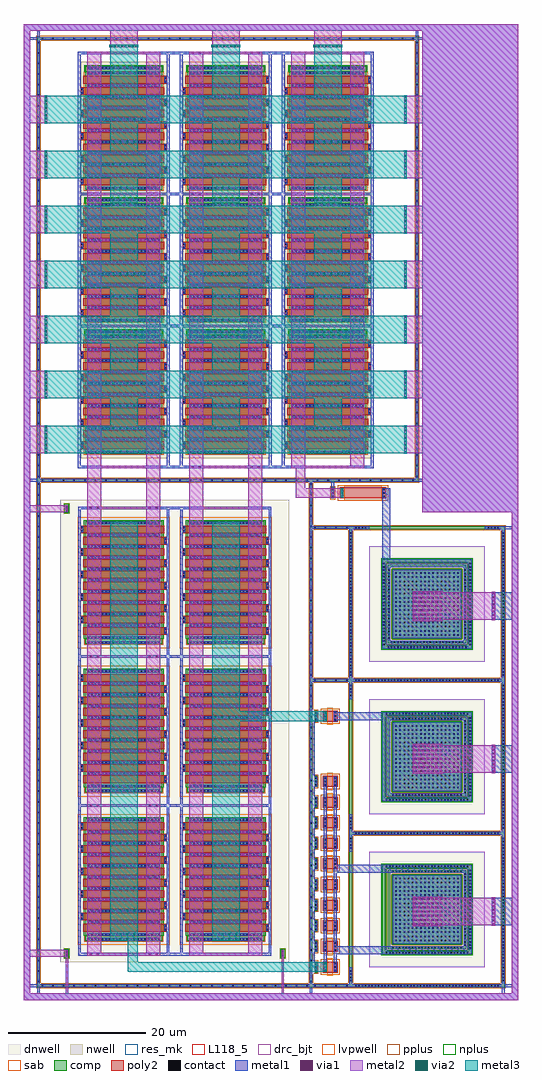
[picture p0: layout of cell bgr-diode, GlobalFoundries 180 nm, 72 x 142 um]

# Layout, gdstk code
from math import pi, radians
import gdstk
lib = gdstk.Library(unit=1e-6, precision=1e-09)
def R(c, l, rs):  # rectangles x0, y0, x1, y1
    for r in rs: c.add(gdstk.rectangle(r[:2], r[2:], *l))
def A(c, l, x, y, w, h, nx, ny, dx, dy):  # array of equal rectangles
    R(c, l, [(x+i*dx, y+j*dy, x+i*dx+w, y+j*dy+h) for i in range(nx) for j in range(ny)])
def P(c, l, *ps):  # polygons
    for p in ps: c.add(gdstk.Polygon(p, *l))
dnwell = (12, 0)
nwell = (21, 0)
comp = (22, 0)
poly2 = (30, 0)
pplus = (31, 0)
nplus = (32, 0)
contact = (33, 0)
metal1 = (34, 0)
via1 = (35, 0)
metal2 = (36, 0)
via2 = (38, 0)
metal3 = (42, 0)
sab = (49, 0)
res_mk = (110, 5)
L118_5 = (118, 5)
drc_bjt = (127, 5)
lvpwell = (204, 0)

tap_psub = lib.new_cell('tap_psub')
R(tap_psub, comp, [(-0.19,-0.77,0.19,0.77)])
R(tap_psub, pplus, [(-0.35,-0.93,0.35,0.93)])
R(tap_psub, contact, [(-0.11,-0.11,0.11,0.11)])
R(tap_psub, metal1, [(-0.19,-0.77,0.19,0.77)])

pfet_1 = lib.new_cell('pfet$1')
R(pfet_1, nwell, [(-1.15,-0.69,18.14,11.89)])
R(pfet_1, comp, [(-0.46,0,0,11.2), (0,0,16.26,11.2), (16.26,0,16.72,11.2), (16.72,0,17.45,11.2)])
A(pfet_1, poly2, 0.19, -0.68, 1.12, 0.38, 5, 1, 3.28, 0)
A(pfet_1, poly2, 0.19, -0.3, 1.12, 11.8, 10, 1, 1.64, 0)
A(pfet_1, poly2, 1.83, 11.5, 1.12, 0.38, 5, 1, 3.28, 0)
R(pfet_1, pplus, [(-0.63,-0.24,16.72,11.44)])
R(pfet_1, nplus, [(16.72,-0.17,17.62,11.37)])
A(pfet_1, contact, -0.34, 0.39, 0.22, 0.22, 1, 21, 0, 0.51)
A(pfet_1, contact, 1.46, 0.39, 0.22, 0.22, 9, 21, 1.64, 0.51)
A(pfet_1, contact, 16.38, 0.39, 0.22, 0.22, 1, 21, 0, 0.51)
A(pfet_1, contact, 17.11, 0.39, 0.22, 0.22, 1, 21, 0, 0.51)
R(pfet_1, contact, [(0.385,-0.6,0.605,-0.38), (0.895,-0.6,1.115,-0.38), (3.665,-0.6,3.885,-0.38), (4.175,-0.6,4.395,-0.38), (6.945,-0.6,7.165,-0.38), (7.455,-0.6,7.675,-0.38), (10.225,-0.6,10.445,-0.38), (10.735,-0.6,10.955,-0.38), (13.505,-0.6,13.725,-0.38), (14.015,-0.6,14.235,-0.38), (2.025,11.58,2.245,11.8), (2.535,11.58,2.755,11.8), (5.305,11.58,5.525,11.8), (5.815,11.58,6.035,11.8), (8.585,11.58,8.805,11.8), (9.095,11.58,9.315,11.8), (11.865,11.58,12.085,11.8), (12.375,11.58,12.595,11.8), (15.145,11.58,15.365,11.8), (15.655,11.58,15.875,11.8)])
A(pfet_1, metal1, 0.305, -0.68, 0.89, 0.38, 5, 1, 3.28, 0)
A(pfet_1, metal1, 1.38, 0.31, 0.38, 10.58, 9, 1, 1.64, 0)
A(pfet_1, metal1, 1.945, 11.5, 0.89, 0.38, 5, 1, 3.28, 0)
R(pfet_1, metal1, [(-0.42,0.31,-0.04,10.89), (16.3,0.31,16.68,10.89), (17.03,0.31,17.41,10.89)])

via1_ = lib.new_cell('via1')
R(via1_, via1, [(-0.13,-0.13,0.13,0.13)])

backgate_n = lib.new_cell('backgate_n')
R(backgate_n, nwell, [(-0.45,-0.52,0.45,1.03)])
R(backgate_n, comp, [(-0.19,-0.26,0.19,0.77)])
R(backgate_n, nplus, [(-0.35,-0.42,0.35,0.93)])
R(backgate_n, contact, [(-0.11,-0.11,0.11,0.11), (-0.11,0.4,0.11,0.62)])
R(backgate_n, metal1, [(-0.16,-0.26,0.16,0.77)])
R(backgate_n, metal2, [(-0.16,-0.26,0.16,0.77)])
backgate_n.add(gdstk.Reference(via1_, (0,0.255)))

pg_mesh = lib.new_cell('pg_mesh')
R(pg_mesh, metal1, [(-0.5,-0.5,0.5,0.5), (-0.5,-0.5,0.5,0.5)])
R(pg_mesh, metal2, [(-0.5,-0.5,0.5,0.5), (-0.5,-0.5,0.5,0.5)])

m12_sd = lib.new_cell('m12_sd')
R(m12_sd, metal2, [(-7.991,0.749,2.589,1.129)])
r = gdstk.Reference(via1_, (-7.3,0.939)); r.repetition = gdstk.Repetition(10, 1, v1=(1.02,0), v2=(0,0)); m12_sd.add(r)

nfet_3 = lib.new_cell('nfet$3')
R(nfet_3, dnwell, [(-3.55,-3.63,20.52,14.83)])
R(nfet_3, comp, [(-0.42,0,0,11.2), (0,0,16.26,11.2), (16.26,0,16.68,11.2), (16.68,0,17.39,11.2)])
A(nfet_3, poly2, 0.19, -0.66, 1.12, 0.36, 5, 1, 3.28, 0)
A(nfet_3, poly2, 0.19, -0.3, 1.12, 11.8, 10, 1, 1.64, 0)
A(nfet_3, poly2, 1.83, 11.5, 1.12, 0.36, 5, 1, 3.28, 0)
R(nfet_3, pplus, [(16.68,-0.17,17.56,11.37)])
R(nfet_3, nplus, [(-0.59,-0.24,16.68,11.44)])
A(nfet_3, contact, -0.32, 0.39, 0.22, 0.22, 1, 21, 0, 0.51)
A(nfet_3, contact, 1.46, 0.39, 0.22, 0.22, 9, 21, 1.64, 0.51)
A(nfet_3, contact, 16.36, 0.39, 0.22, 0.22, 1, 21, 0, 0.51)
A(nfet_3, contact, 17.07, 0.39, 0.22, 0.22, 1, 21, 0, 0.51)
R(nfet_3, contact, [(0.385,-0.59,0.605,-0.37), (0.895,-0.59,1.115,-0.37), (3.665,-0.59,3.885,-0.37), (4.175,-0.59,4.395,-0.37), (6.945,-0.59,7.165,-0.37), (7.455,-0.59,7.675,-0.37), (10.225,-0.59,10.445,-0.37), (10.735,-0.59,10.955,-0.37), (13.505,-0.59,13.725,-0.37), (14.015,-0.59,14.235,-0.37), (2.025,11.57,2.245,11.79), (2.535,11.57,2.755,11.79), (5.305,11.57,5.525,11.79), (5.815,11.57,6.035,11.79), (8.585,11.57,8.805,11.79), (9.095,11.57,9.315,11.79), (11.865,11.57,12.085,11.79), (12.375,11.57,12.595,11.79), (15.145,11.57,15.365,11.79), (15.655,11.57,15.875,11.79)])
A(nfet_3, metal1, 0.305, -0.67, 0.89, 0.38, 5, 1, 3.28, 0)
A(nfet_3, metal1, 1.38, 0.31, 0.38, 10.58, 9, 1, 1.64, 0)
A(nfet_3, metal1, 1.945, 11.49, 0.89, 0.38, 5, 1, 3.28, 0)
R(nfet_3, metal1, [(-0.4,0.31,-0.02,10.89), (16.28,0.31,16.66,10.89), (16.99,0.31,17.37,10.89)])
R(nfet_3, lvpwell, [(-1.04,-1.12,18.01,12.32)])

ppolyf_u_resistor_1 = lib.new_cell('ppolyf_u_resistor$1')
R(ppolyf_u_resistor_1, comp, [(-1.88,0,-1.52,1.6)])
R(ppolyf_u_resistor_1, poly2, [(-0.66,0,1.46,1.6)])
R(ppolyf_u_resistor_1, pplus, [(-0.96,-0.3,1.76,1.9), (-2.04,-0.16,-1.36,1.76)])
A(ppolyf_u_resistor_1, contact, -1.81, 0.18, 0.22, 0.22, 1, 3, 0, 0.51)
A(ppolyf_u_resistor_1, contact, -0.44, 0.18, 0.22, 0.22, 1, 3, 0, 0.51)
A(ppolyf_u_resistor_1, contact, 1.02, 0.18, 0.22, 0.22, 1, 3, 0, 0.51)
R(ppolyf_u_resistor_1, metal1, [(-1.89,0.1,-1.51,1.5), (-0.52,0.1,-0.14,1.5), (0.94,0.1,1.32,1.5)])
R(ppolyf_u_resistor_1, sab, [(0,-0.456,0.8,2.056)])
R(ppolyf_u_resistor_1, res_mk, [(0,0,0.8,1.6)])

ppolyf_u_resistor = lib.new_cell('ppolyf_u_resistor')
R(ppolyf_u_resistor, comp, [(-1.88,0,-1.52,1.6)])
R(ppolyf_u_resistor, poly2, [(-0.66,0,6.06,1.6)])
R(ppolyf_u_resistor, pplus, [(-0.96,-0.3,6.36,1.9), (-2.04,-0.16,-1.36,1.76)])
A(ppolyf_u_resistor, contact, -1.81, 0.18, 0.22, 0.22, 1, 3, 0, 0.51)
A(ppolyf_u_resistor, contact, -0.44, 0.18, 0.22, 0.22, 1, 3, 0, 0.51)
A(ppolyf_u_resistor, contact, 5.62, 0.18, 0.22, 0.22, 1, 3, 0, 0.51)
R(ppolyf_u_resistor, metal1, [(-1.89,0.1,-1.51,1.5), (-0.52,0.1,-0.14,1.5), (5.54,0.1,5.92,1.5)])
R(ppolyf_u_resistor, sab, [(0,-0.28,5.4,1.88)])
R(ppolyf_u_resistor, res_mk, [(0,0,5.4,1.6)])

via2_ = lib.new_cell('via2')
R(via2_, via2, [(-0.13,-0.13,0.13,0.13)])

m13_sd_4u = lib.new_cell('m13_sd_4u')
R(m13_sd_4u, metal2, [(-4.701,0.749,-0.701,1.129)])
R(m13_sd_4u, metal3, [(-4.701,0.749,-0.701,1.129)])
r = gdstk.Reference(via2_, (-4.24,0.939)); r.repetition = gdstk.Repetition(4, 1, v1=(1.02,0), v2=(0,0)); m13_sd_4u.add(r)
r = gdstk.Reference(via1_, (-4.24,0.939)); r.repetition = gdstk.Repetition(4, 1, v1=(1.02,0), v2=(0,0)); m13_sd_4u.add(r)

m12_sd_2u = lib.new_cell('m12_sd_2u')
R(m12_sd_2u, metal2, [(-3.701,0.749,-1.701,1.129)])
r = gdstk.Reference(via1_, (-3.22,0.939)); r.repetition = gdstk.Repetition(2, 1, v1=(1.02,0), v2=(0,0)); m12_sd_2u.add(r)

m3_bar1 = lib.new_cell('m3_bar1')
m3_bar1.add(gdstk.FlexPath([(0,0),(25.68,0)], 4, ends="flush", simple_path=True, layer=42, datatype=0))  # metal3

m2_bar1 = lib.new_cell('m2_bar1')
m2_bar1.add(gdstk.FlexPath([(0,0),(10.58,0)], 0.38, ends="flush", simple_path=True, layer=36, datatype=0))  # metal2

m23 = lib.new_cell('m23')
R(m23, metal2, [(-0.18,-0.26,0.18,0.26)])
R(m23, metal3, [(-0.18,-0.26,0.18,0.26)])
m23.add(gdstk.Reference(via2_, (0,0)))

pfet_vdd = lib.new_cell('pfet_vdd')
pfet_vdd.add(gdstk.FlexPath([(1,0),(4,0)], 4, ends="flush", simple_path=True, layer=36, datatype=0))  # metal2
pfet_vdd.add(gdstk.FlexPath([(3.64,0),(13.14,0)], 4, ends="flush", simple_path=True, layer=42, datatype=0))  # metal3
r = gdstk.Reference(m23, (3.82,-1.82)); r.repetition = gdstk.Repetition(1, 8, v1=(0,0), v2=(0,0.52)); pfet_vdd.add(r)

m13 = lib.new_cell('m13')
R(m13, metal1, [(-0.19,-0.7,0.19,0.7)])
R(m13, metal2, [(-0.19,-0.7,0.19,0.7)])
R(m13, metal3, [(-0.19,-0.7,0.19,0.7)])
r = gdstk.Reference(via2_, (0,-0.52)); r.repetition = gdstk.Repetition(1, 3, v1=(0,0), v2=(0,0.52)); m13.add(r)
r = gdstk.Reference(via1_, (0,-0.52)); r.repetition = gdstk.Repetition(1, 3, v1=(0,0), v2=(0,0.52)); m13.add(r)

m12_array = lib.new_cell('m12_array')
R(m12_array, metal1, [(-0.31,-0.31,0.31,0.31)])
R(m12_array, metal2, [(-0.31,-0.31,0.31,0.31)])
m12_array.add(gdstk.Reference(via1_, (0,0)))

m12 = lib.new_cell('m12')
R(m12, metal1, [(-0.26,-0.26,0.26,0.26)])
R(m12, metal2, [(-0.26,-0.26,0.26,0.26)])
m12.add(gdstk.Reference(via1_, (0,0)))

bjt_vss = lib.new_cell('bjt-vss')
bjt_vss.add(gdstk.FlexPath([(11.48,0),(14.38,0)], 4, ends="flush", simple_path=True, layer=34, datatype=0))  # metal1
bjt_vss.add(gdstk.FlexPath([(0,0),(12,0)], 4, ends="flush", simple_path=True, layer=36, datatype=0))  # metal2
r = gdstk.Reference(m12_array, (0.31,-1.86)); r.repetition = gdstk.Repetition(7, 7, v1=(0.62,0), v2=(0,0.62)); bjt_vss.add(r)
r = gdstk.Reference(m12, (11.74,-1.82)); r.repetition = gdstk.Repetition(1, 8, v1=(0,0), v2=(0,0.52)); bjt_vss.add(r)

npn_10p00x10p00_0 = lib.new_cell('npn_10p00x10p00_0')
R(npn_10p00x10p00_0, dnwell, [(-3.4,-3.4,13.4,13.4)])
R(npn_10p00x10p00_0, comp, [(0,0,10,10)])
P(npn_10p00x10p00_0, comp, [(-6.32,-6.32),(-6.32,16.32),(15.9,16.32),(15.9,15.9),(-5.9,15.9),(-5.9,-5.9),(15.9,-5.9),(15.9,16.32),(16.32,16.32),(16.32,-6.32)],
  [(-0.74,-0.74),(-0.74,10.74),(10.32,10.74),(10.32,10.32),(-0.32,10.32),(-0.32,-0.32),(10.32,-0.32),(10.32,10.74),(10.74,10.74),(10.74,-0.74)],
  [(-1.48,-1.48),(-1.48,11.48),(11.06,11.48),(11.06,11.06),(-1.06,11.06),(-1.06,-1.06),(11.06,-1.06),(11.06,11.48),(11.48,11.48),(11.48,-1.48)])
P(npn_10p00x10p00_0, pplus, [(-6.48,-6.48),(-6.48,16.48),(15.74,16.48),(15.74,15.74),(-5.74,15.74),(-5.74,-5.74),(15.74,-5.74),(15.74,16.48),(16.48,16.48),(16.48,-6.48)],
  [(-0.9,-0.9),(-0.9,10.9),(10.16,10.9),(10.16,10.16),(-0.16,10.16),(-0.16,-0.16),(10.16,-0.16),(10.16,10.9),(10.9,10.9),(10.9,-0.9)])
R(npn_10p00x10p00_0, nplus, [(-0.16,-0.16,10.16,10.16)])
P(npn_10p00x10p00_0, nplus, [(-1.64,-1.64),(-1.64,11.64),(10.9,11.64),(10.9,10.9),(-0.9,10.9),(-0.9,-0.9),(10.9,-0.9),(10.9,11.64),(11.64,11.64),(11.64,-1.64)])
A(npn_10p00x10p00_0, contact, -5.45, -6.22, 0.22, 0.22, 4, 1, 0.47, 0)
A(npn_10p00x10p00_0, contact, 13.82, -6.22, 0.22, 0.22, 4, 1, 0.47, 0)
A(npn_10p00x10p00_0, contact, -6.22, -5.45, 0.22, 0.22, 1, 45, 0, 0.47)
A(npn_10p00x10p00_0, contact, 16, -5.45, 0.22, 0.22, 1, 45, 0, 0.47)
A(npn_10p00x10p00_0, contact, -1.38, -0.985, 0.22, 0.22, 1, 26, 0, 0.47)
A(npn_10p00x10p00_0, contact, 11.16, -0.985, 0.22, 0.22, 1, 26, 0, 0.47)
A(npn_10p00x10p00_0, contact, -0.64, -0.045, 0.22, 0.22, 1, 22, 0, 0.47)
A(npn_10p00x10p00_0, contact, 10.42, -0.045, 0.22, 0.22, 1, 22, 0, 0.47)
A(npn_10p00x10p00_0, contact, 0.39, 0.39, 0.22, 0.22, 16, 16, 0.6, 0.6)
A(npn_10p00x10p00_0, contact, -0.28, 10.42, 0.22, 0.22, 23, 1, 0.47, 0)
A(npn_10p00x10p00_0, contact, -0.75, 11.16, 0.22, 0.22, 25, 1, 0.47, 0)
A(npn_10p00x10p00_0, contact, -5.45, 16, 0.22, 0.22, 45, 1, 0.47, 0)
R(npn_10p00x10p00_0, metal1, [(-6.32,-6.32,-5.9,16.32), (-6.32,-6.32,-3.4,-5.9), (13.4,-6.32,16.32,-5.9), (15.9,-6.32,16.32,16.32), (-1.48,-1.48,-1.06,11.48), (11.06,-1.48,11.48,11.48), (-0.74,-0.74,-0.32,10.74), (10.32,-0.74,10.74,10.74), (0,0,10,10), (0,0,10,10), (-0.74,10.32,10.74,10.74), (-1.48,11.06,11.48,11.48), (-6.32,15.9,16.32,16.32)])
P(npn_10p00x10p00_0, metal1, [(-6.32,-6.32),(-6.32,16.32),(15.9,16.32),(15.9,15.9),(-5.9,15.9),(-5.9,-5.9),(-3.4,-5.9),(-3.4,-6.32)],
  [(13.4,-6.32),(13.4,-5.9),(15.9,-5.9),(15.9,16.32),(16.32,16.32),(16.32,-6.32)],
  [(-0.74,-0.74),(-0.74,10.74),(10.74,10.74),(10.74,-0.74),(10.32,-0.74),(10.32,10.32),(-0.32,10.32),(-0.32,-0.74)],
  [(-1.48,-1.48),(-1.48,11.48),(11.48,11.48),(11.48,-1.48),(11.06,-1.48),(11.06,11.06),(-1.06,11.06),(-1.06,-1.48)])
R(npn_10p00x10p00_0, L118_5, [(0,0,10,10)])
R(npn_10p00x10p00_0, drc_bjt, [(-3.4,-3.4,13.4,13.4)])
R(npn_10p00x10p00_0, lvpwell, [(-0.9,-0.9,10.9,10.9)])
npn_10p00x10p00_0.add(gdstk.Label('E', (5.005,4.995), layer=34, texttype=0))
npn_10p00x10p00_0.add(gdstk.Label('B', (-0.515,-0.485), layer=34, texttype=0))
npn_10p00x10p00_0.add(gdstk.Label('B', (10.525,-0.495), layer=34, texttype=0))
npn_10p00x10p00_0.add(gdstk.Label('B', (10.55,10.54), layer=34, texttype=0))
npn_10p00x10p00_0.add(gdstk.Label('C', (-1.255,11.26), layer=34, texttype=0))
npn_10p00x10p00_0.add(gdstk.Label('C', (11.27,-1.235), layer=34, texttype=0))
npn_10p00x10p00_0.add(gdstk.Label('C', (11.285,11.285), layer=34, texttype=0))
npn_10p00x10p00_0.add(gdstk.Label('S', (16.105,16.105), layer=34, texttype=0))
npn_10p00x10p00_0.add(gdstk.Label('S', (16.07,-6.095), layer=34, texttype=0))
npn_10p00x10p00_0.add(gdstk.Label('S', (16.07,-6.095), layer=34, texttype=0))
npn_10p00x10p00_0.add(gdstk.Label('S', (-6.095,-6.055), layer=34, texttype=0))
npn_10p00x10p00_0.add(gdstk.Label('S', (-6.095,-6.055), layer=34, texttype=0))

npn_10p00x10p00 = lib.new_cell('npn_10p00x10p00')
npn_10p00x10p00.add(gdstk.Reference(npn_10p00x10p00_0, (6.6,6.6)))
npn_10p00x10p00.add(gdstk.Label('I1_default_E', (6.625,6.625), layer=34, texttype=10))
npn_10p00x10p00.add(gdstk.Label('I1_default_S', (0.305,22.525), layer=34, texttype=10))
npn_10p00x10p00.add(gdstk.Label('I1_default_S', (22.525,0.305), layer=34, texttype=10))
npn_10p00x10p00.add(gdstk.Label('I1_default_S', (20.025,0.305), layer=34, texttype=10))
npn_10p00x10p00.add(gdstk.Label('I1_default_S', (0.305,0.305), layer=34, texttype=10))
npn_10p00x10p00.add(gdstk.Label('I1_default_S', (0.305,0.305), layer=34, texttype=10))
npn_10p00x10p00.add(gdstk.Label('I1_default_C', (5.145,5.145), layer=34, texttype=10))
npn_10p00x10p00.add(gdstk.Label('I1_default_C', (17.685,5.145), layer=34, texttype=10))
npn_10p00x10p00.add(gdstk.Label('I1_default_C', (5.145,17.685), layer=34, texttype=10))
npn_10p00x10p00.add(gdstk.Label('I1_default_B', (5.885,5.885), layer=34, texttype=10))
npn_10p00x10p00.add(gdstk.Label('I1_default_B', (16.945,5.885), layer=34, texttype=10))
npn_10p00x10p00.add(gdstk.Label('I1_default_B', (5.885,16.945), layer=34, texttype=10))

npn_bjt = lib.new_cell('npn_bjt')
npn_bjt.add(gdstk.Reference(npn_10p00x10p00, (0,0)))

bgr_diode = lib.new_cell('bgr-diode')
bgr_diode.add(gdstk.FlexPath([(-2.11,-49.639),(-2.11,-78.039)], 0.38, ends="flush", simple_path=True, layer=34, datatype=0))  # metal1
bgr_diode.add(gdstk.FlexPath([(-0.65,-49.639),(-0.65,-78.039)], 0.38, ends="flush", simple_path=True, layer=34, datatype=0))  # metal1
bgr_diode.add(gdstk.FlexPath([(-3.82,-40.145),(-3.82,-78.039)], 0.32, ends="flush", simple_path=True, layer=34, datatype=0))  # metal1
bgr_diode.add(gdstk.FlexPath([(-1.02,-6.705),(-1.02,-7.668)], 0.38, ends="flush", simple_path=True, layer=34, datatype=0))  # metal1
bgr_diode.add(gdstk.FlexPath([(-0.84,-74.865),(18.6,-74.865),(18.6,-63.065),(-0.84,-63.065)], 1.16, ends="flush", simple_path=True, layer=34, datatype=0))  # metal1
bgr_diode.add(gdstk.FlexPath([(-0.84,-40.845),(18.6,-40.845),(18.6,-52.645),(6.8,-52.645),(6.8,-41.425)], 1.16, ends="flush", simple_path=True, layer=34, datatype=0))  # metal1
bgr_diode.add(gdstk.FlexPath([(6.8,-7.668),(6.8,-30.425),(18.6,-30.425),(18.6,-18.625),(7.38,-18.625)], 1.16, ends="flush", simple_path=True, layer=34, datatype=0))  # metal1
bgr_diode.add(gdstk.FlexPath([(11.42,-6.515),(12,-6.515)], 0.38, ends="flush", simple_path=True, layer=34, datatype=0))  # metal1
bgr_diode.add(gdstk.FlexPath([(11.42,57.782),(12,57.782)], 0.38, ends="flush", simple_path=True, layer=34, datatype=0))  # metal1
bgr_diode.add(gdstk.FlexPath([(11.23,58.865),(11.23,57.972)], 0.38, ends="flush", simple_path=True, layer=34, datatype=0))  # metal1
bgr_diode.add(gdstk.FlexPath([(-45,57.782),(-44.02,57.782)], 0.38, ends="flush", simple_path=True, layer=34, datatype=0))  # metal1
bgr_diode.add(gdstk.FlexPath([(-43.83,58.865),(-43.83,57.972)], 0.38, ends="flush", simple_path=True, layer=34, datatype=0))  # metal1
bgr_diode.add(gdstk.FlexPath([(-45,-6.515),(-44.02,-6.515)], 0.38, ends="flush", simple_path=True, layer=34, datatype=0))  # metal1
bgr_diode.add(gdstk.FlexPath([(-45,-80.055),(-44.02,-80.055)], 0.38, ends="flush", simple_path=True, layer=34, datatype=0))  # metal1
bgr_diode.add(gdstk.FlexPath([(-43.83,-80.245),(-43.83,-81.135)], 0.38, ends="flush", simple_path=True, layer=34, datatype=0))  # metal1
bgr_diode.add(gdstk.FlexPath([(-4.17,-80.245),(-4.17,-81.135)], 0.38, ends="flush", simple_path=True, layer=34, datatype=0))  # metal1
bgr_diode.add(gdstk.FlexPath([(23.81,-80.285),(23.81,-81.135)], 0.42, ends="flush", simple_path=True, layer=34, datatype=0))  # metal1
bgr_diode.add(gdstk.FlexPath([(24.02,-80.075),(25,-80.075)], 0.42, ends="flush", simple_path=True, layer=34, datatype=0))  # metal1
bgr_diode.add(gdstk.FlexPath([(24.02,-13.415),(25,-13.415)], 0.42, ends="flush", simple_path=True, layer=34, datatype=0))  # metal1
bgr_diode.add(gdstk.FlexPath([(-37.89,55.442),(-37.89,-4.578),(-24.95,-4.578),(-24.95,55.632),(-38.08,55.632)], 0.38, ends="flush", simple_path=True, layer=34, datatype=0))  # metal1
bgr_diode.add(gdstk.FlexPath([(-23.05,55.442),(-23.05,-4.578),(-10.11,-4.578),(-10.11,55.632),(-23.24,55.632)], 0.38, ends="flush", simple_path=True, layer=34, datatype=0))  # metal1
bgr_diode.add(gdstk.FlexPath([(-8.21,55.442),(-8.21,-4.578),(4.73,-4.578),(4.73,55.632),(-8.4,55.632)], 0.38, ends="flush", simple_path=True, layer=34, datatype=0))  # metal1
bgr_diode.add(gdstk.FlexPath([(-37.88,-10.718),(-37.88,-75.478),(-24.96,-75.478),(-24.96,-10.528),(-38.07,-10.528)], 0.38, ends="flush", simple_path=True, layer=34, datatype=0))  # metal1
bgr_diode.add(gdstk.FlexPath([(-23.04,-10.718),(-23.04,-75.478),(-10.12,-75.478),(-10.12,-10.528),(-23.23,-10.528)], 0.38, ends="flush", simple_path=True, layer=34, datatype=0))  # metal1
bgr_diode.add(gdstk.FlexPath([(-38.07,-75.478),(-9.93,-75.478)], 0.38, ends="flush", simple_path=True, layer=34, datatype=0))  # metal1
bgr_diode.add(gdstk.FlexPath([(-38.07,-10.528),(-9.93,-10.528)], 0.38, ends="flush", simple_path=True, layer=34, datatype=0))  # metal1
bgr_diode.add(gdstk.FlexPath([(-38.08,-4.578),(4.92,-4.578)], 0.38, ends="flush", simple_path=True, layer=34, datatype=0))  # metal1
bgr_diode.add(gdstk.FlexPath([(-38.08,55.632),(4.92,55.632)], 0.38, ends="flush", simple_path=True, layer=34, datatype=0))  # metal1
bgr_diode.add(gdstk.FlexPath([(-38.08,35.127),(4.91,35.127)], 0.38, ends="flush", simple_path=True, layer=34, datatype=0))  # metal1
bgr_diode.add(gdstk.FlexPath([(-38.08,15.927),(4.91,15.927)], 0.38, ends="flush", simple_path=True, layer=34, datatype=0))  # metal1
bgr_diode.add(gdstk.FlexPath([(-38.07,-53.828),(-9.93,-53.828)], 0.38, ends="flush", simple_path=True, layer=34, datatype=0))  # metal1
bgr_diode.add(gdstk.FlexPath([(-38.07,-32.178),(-9.93,-32.178)], 0.38, ends="flush", simple_path=True, layer=34, datatype=0))  # metal1
bgr_diode.add(gdstk.FlexPath([(2.55,55.822),(2.55,-4.768)], 2, ends="flush", simple_path=True, layer=36, datatype=0))  # metal2
bgr_diode.add(gdstk.FlexPath([(-6.03,55.822),(-6.03,-4.768)], 2, ends="flush", simple_path=True, layer=36, datatype=0))  # metal2
bgr_diode.add(gdstk.FlexPath([(-45,-10.643),(-39.86,-10.643)], 1.03, ends="flush", simple_path=True, layer=36, datatype=0))  # metal2
bgr_diode.add(gdstk.FlexPath([(-45,-75.363),(-39.86,-75.363)], 1.03, ends="flush", simple_path=True, layer=36, datatype=0))  # metal2
bgr_diode.add(gdstk.FlexPath([(-39.685,-75.878),(-39.685,-81.135)], 0.35, ends="flush", simple_path=True, layer=36, datatype=0))  # metal2
bgr_diode.add(gdstk.FlexPath([(-8.285,-75.878),(-8.285,-81.135)], 0.35, ends="flush", simple_path=True, layer=36, datatype=0))  # metal2
bgr_diode.add(gdstk.FlexPath([(-5.73,-4.768),(-5.73,-8.368),(0.16,-8.368)], 1.4, ends="flush", simple_path=True, layer=36, datatype=0))  # metal2
bgr_diode.add(gdstk.FlexPath([(-27.13,55.822),(-27.13,-75.668)], 2, ends="flush", simple_path=True, layer=36, datatype=0))  # metal2
bgr_diode.add(gdstk.FlexPath([(-35.71,55.822),(-35.71,-75.668)], 2, ends="flush", simple_path=True, layer=36, datatype=0))  # metal2
bgr_diode.add(gdstk.FlexPath([(-12.29,55.822),(-12.29,-75.668)], 2, ends="flush", simple_path=True, layer=36, datatype=0))  # metal2
bgr_diode.add(gdstk.FlexPath([(-20.87,55.822),(-20.87,-75.668)], 2, ends="flush", simple_path=True, layer=36, datatype=0))  # metal2
bgr_diode.add(gdstk.FlexPath([(-1.74,53.642),(-1.74,-2.588)], 4, ends="flush", simple_path=True, layer=42, datatype=0))  # metal3
bgr_diode.add(gdstk.FlexPath([(-16.58,-40.845),(-2.3,-40.845)], 1.4, ends="flush", simple_path=True, layer=42, datatype=0))  # metal3
bgr_diode.add(gdstk.FlexPath([(-1.92,-77.339),(-30.12,-77.339),(-30.12,-73.488)], 1.4, ends="flush", simple_path=True, layer=42, datatype=0))  # metal3
bgr_diode.add(gdstk.FlexPath([(-31.42,53.642),(-31.42,-2.588)], 4, ends="flush", simple_path=True, layer=42, datatype=0))  # metal3
bgr_diode.add(gdstk.FlexPath([(-16.58,53.642),(-16.58,-2.588)], 4, ends="flush", simple_path=True, layer=42, datatype=0))  # metal3
bgr_diode.add(gdstk.FlexPath([(-31.42,-12.518),(-31.42,-73.488)], 4, ends="flush", simple_path=True, layer=42, datatype=0))  # metal3
bgr_diode.add(gdstk.FlexPath([(-16.58,-12.518),(-16.58,-73.488)], 4, ends="flush", simple_path=True, layer=42, datatype=0))  # metal3
r = gdstk.Reference(tap_psub, (-43.83,-79.475)); r.repetition = gdstk.Repetition(1, 48, v1=(0,0), v2=(0,1.54)); bgr_diode.add(r)
r = gdstk.Reference(tap_psub, (10.65,57.782), rotation=pi/2); r.repetition = gdstk.Repetition(1, 36, v1=(0,0), v2=(-1.54,0)); bgr_diode.add(r)
r = gdstk.Reference(pfet_1, (-37.02,-2.168), rotation=pi/2, x_reflection=True); r.repetition = gdstk.Repetition(3, 3, v1=(0,19.2), v2=(14.84,0)); bgr_diode.add(r)
bgr_diode.add(gdstk.Reference(backgate_n, (-39.7,-10.898)))
r = gdstk.Reference(pg_mesh, (-45.5,-81.635)); r.repetition = gdstk.Repetition(1, 142, v1=(0,0), v2=(0,1)); bgr_diode.add(r)
bgr_diode.add(gdstk.Reference(backgate_n, (-39.7,-75.618)))
r = gdstk.Reference(m12_sd, (-28.719,-50.147)); r.repetition = gdstk.Repetition(2, 5, v1=(14.84,0), v2=(0,3.28)); bgr_diode.add(r)
r = gdstk.Reference(nfet_3, (-37.02,-12.918), rotation=3*pi/2); r.repetition = gdstk.Repetition(3, 2, v1=(0,-21.6), v2=(14.84,0)); bgr_diode.add(r)
r = gdstk.Reference(m12_sd, (-28.719,-1.537)); r.repetition = gdstk.Repetition(3, 5, v1=(14.84,0), v2=(0,3.28)); bgr_diode.add(r)
r = gdstk.Reference(m12_sd, (-28.719,17.663)); r.repetition = gdstk.Repetition(3, 5, v1=(14.84,0), v2=(0,3.28)); bgr_diode.add(r)
r = gdstk.Reference(m12_sd, (-28.719,36.863)); r.repetition = gdstk.Repetition(3, 5, v1=(14.84,0), v2=(0,3.28)); bgr_diode.add(r)
bgr_diode.add(gdstk.Reference(ppolyf_u_resistor_1, (-1.78,-41.645)))
r = gdstk.Reference(ppolyf_u_resistor_1, (-1.78,-78.139)); r.repetition = gdstk.Repetition(1, 10, v1=(0,0), v2=(0,3)); bgr_diode.add(r)
bgr_diode.add(gdstk.Reference(ppolyf_u_resistor, (0.68,-9.168)))
r = gdstk.Reference(tap_psub, (-43.25,-80.055), rotation=3*pi/2); r.repetition = gdstk.Repetition(1, 26, v1=(0,0), v2=(1.54,0)); bgr_diode.add(r)
r = gdstk.Reference(tap_psub, (10.65,-6.515), rotation=pi/2); r.repetition = gdstk.Repetition(1, 36, v1=(0,0), v2=(-1.54,0)); bgr_diode.add(r)
r = gdstk.Reference(tap_psub, (11.23,-5.935)); r.repetition = gdstk.Repetition(1, 42, v1=(0,0), v2=(0,1.54)); bgr_diode.add(r)
r = gdstk.Reference(m12_sd, (-28.719,-28.547)); r.repetition = gdstk.Repetition(2, 5, v1=(14.84,0), v2=(0,3.28)); bgr_diode.add(r)
r = gdstk.Reference(m12_sd, (-28.719,-71.747)); r.repetition = gdstk.Repetition(2, 5, v1=(14.84,0), v2=(0,3.28)); bgr_diode.add(r)
r = gdstk.Reference(m13_sd_4u, (-28.719,-70.107)); r.repetition = gdstk.Repetition(2, 4, v1=(14.84,0), v2=(0,3.28)); bgr_diode.add(r)
r = gdstk.Reference(m13_sd_4u, (-28.719,-74.237)); r.repetition = gdstk.Repetition(2, 2, v1=(14.84,0), v2=(0,0.71)); bgr_diode.add(r)
r = gdstk.Reference(m13_sd_4u, (-28.719,-56.847)); r.repetition = gdstk.Repetition(2, 1, v1=(14.84,0), v2=(0,0)); bgr_diode.add(r)
r = gdstk.Reference(m13_sd_4u, (-28.719,-48.507)); r.repetition = gdstk.Repetition(2, 4, v1=(14.84,0), v2=(0,3.28)); bgr_diode.add(r)
r = gdstk.Reference(m13_sd_4u, (-28.719,-52.637)); r.repetition = gdstk.Repetition(2, 2, v1=(14.84,0), v2=(0,0.71)); bgr_diode.add(r)
r = gdstk.Reference(m13_sd_4u, (-28.719,-35.247)); r.repetition = gdstk.Repetition(2, 1, v1=(14.84,0), v2=(0,0)); bgr_diode.add(r)
r = gdstk.Reference(m13_sd_4u, (-28.719,-26.907)); r.repetition = gdstk.Repetition(2, 4, v1=(14.84,0), v2=(0,3.28)); bgr_diode.add(r)
r = gdstk.Reference(m13_sd_4u, (-28.719,-31.037)); r.repetition = gdstk.Repetition(2, 2, v1=(14.84,0), v2=(0,0.71)); bgr_diode.add(r)
r = gdstk.Reference(m13_sd_4u, (-28.719,-13.647)); r.repetition = gdstk.Repetition(2, 1, v1=(14.84,0), v2=(0,0)); bgr_diode.add(r)
r = gdstk.Reference(m13_sd_4u, (-28.719,-3.337)); r.repetition = gdstk.Repetition(3, 1, v1=(14.84,0), v2=(0,0)); bgr_diode.add(r)
r = gdstk.Reference(m13_sd_4u, (-28.719,0.103)); r.repetition = gdstk.Repetition(3, 4, v1=(14.84,0), v2=(0,3.28)); bgr_diode.add(r)
r = gdstk.Reference(m13_sd_4u, (-28.719,13.383)); r.repetition = gdstk.Repetition(3, 2, v1=(14.84,0), v2=(0,0.71)); bgr_diode.add(r)
r = gdstk.Reference(m13_sd_4u, (-28.719,15.863)); r.repetition = gdstk.Repetition(3, 1, v1=(14.84,0), v2=(0,0)); bgr_diode.add(r)
r = gdstk.Reference(m13_sd_4u, (-28.719,19.323)); r.repetition = gdstk.Repetition(3, 4, v1=(14.84,0), v2=(0,3.28)); bgr_diode.add(r)
r = gdstk.Reference(m13_sd_4u, (-28.719,32.603)); r.repetition = gdstk.Repetition(3, 2, v1=(14.84,0), v2=(0,0.71)); bgr_diode.add(r)
r = gdstk.Reference(m13_sd_4u, (-28.719,35.063)); r.repetition = gdstk.Repetition(3, 1, v1=(14.84,0), v2=(0,0)); bgr_diode.add(r)
r = gdstk.Reference(m13_sd_4u, (-28.719,38.523)); r.repetition = gdstk.Repetition(3, 4, v1=(14.84,0), v2=(0,3.28)); bgr_diode.add(r)
r = gdstk.Reference(m13_sd_4u, (-28.719,51.803)); r.repetition = gdstk.Repetition(3, 2, v1=(14.84,0), v2=(0,0.71)); bgr_diode.add(r)
r = gdstk.Reference(tap_psub, (-4.17,-79.475)); r.repetition = gdstk.Repetition(1, 48, v1=(0,0), v2=(0,1.54)); bgr_diode.add(r)
r = gdstk.Reference(m12_sd_2u, (-33.009,-76.417)); r.repetition = gdstk.Repetition(2, 4, v1=(8.58,0), v2=(0,21.65)); bgr_diode.add(r)
r = gdstk.Reference(m12_sd_2u, (-18.169,-5.517)); r.repetition = gdstk.Repetition(2, 2, v1=(8.58,0), v2=(0,60.21)); bgr_diode.add(r)
r = gdstk.Reference(m12_sd_2u, (-18.169,14.988)); r.repetition = gdstk.Repetition(2, 2, v1=(8.58,0), v2=(0,19.2)); bgr_diode.add(r)
r = gdstk.Reference(tap_psub, (-3.59,-80.055), rotation=3*pi/2); r.repetition = gdstk.Repetition(1, 4, v1=(0,0), v2=(1.54,0)); bgr_diode.add(r)
r = gdstk.Reference(m3_bar1, (-29.42,-0.588)); r.repetition = gdstk.Repetition(1, 7, v1=(0,0), v2=(0,8)); bgr_diode.add(r)
bgr_diode.add(gdstk.Reference(backgate_n, (-8.3,-75.618)))
r = gdstk.Reference(m2_bar1, (-36.71,-4.578)); r.repetition = gdstk.Repetition(3, 2, v1=(14.84,0), v2=(0,60.21)); bgr_diode.add(r)
r = gdstk.Reference(m2_bar1, (-36.71,15.927)); r.repetition = gdstk.Repetition(3, 2, v1=(14.84,0), v2=(0,19.2)); bgr_diode.add(r)
r = gdstk.Reference(m2_bar1, (-36.71,-75.478)); r.repetition = gdstk.Repetition(2, 2, v1=(14.84,0), v2=(0,64.95)); bgr_diode.add(r)
r = gdstk.Reference(m2_bar1, (-36.71,-53.828)); r.repetition = gdstk.Repetition(2, 2, v1=(14.84,0), v2=(0,21.65)); bgr_diode.add(r)
r = gdstk.Reference(pfet_vdd, (13.4,47.412), rotation=pi); r.repetition = gdstk.Repetition(1, 7, v1=(0,0), v2=(0,-8)); bgr_diode.add(r)
r = gdstk.Reference(pg_mesh, (-45.5,-81.635)); r.repetition = gdstk.Repetition(72, 1, v1=(1,0), v2=(0,0)); bgr_diode.add(r)
r = gdstk.Reference(pg_mesh, (25.5,-81.635)); r.repetition = gdstk.Repetition(1, 142, v1=(0,0), v2=(0,1)); bgr_diode.add(r)
r = gdstk.Reference(pg_mesh, (-45.5,59.365)); r.repetition = gdstk.Repetition(72, 1, v1=(1,0), v2=(0,0)); bgr_diode.add(r)
r = gdstk.Reference(pg_mesh, (12.5,-10.635)); r.repetition = gdstk.Repetition(13, 70, v1=(1,0), v2=(0,1)); bgr_diode.add(r)
r = gdstk.Reference(pfet_vdd, (-46.56,-0.588)); r.repetition = gdstk.Repetition(1, 7, v1=(0,0), v2=(0,8)); bgr_diode.add(r)
r = gdstk.Reference(pfet_vdd, (-31.42,60.512), rotation=3*pi/2); r.repetition = gdstk.Repetition(1, 3, v1=(0,0), v2=(14.84,0)); bgr_diode.add(r)
bgr_diode.add(gdstk.Reference(m13, (-2.11,-77.339)))
bgr_diode.add(gdstk.Reference(m13, (-2.11,-40.845)))
bgr_diode.add(gdstk.Reference(m13, (0.35,-8.368)))
r = gdstk.Reference(tap_psub, (-3.59,-35.615), rotation=3*pi/2); r.repetition = gdstk.Repetition(1, 4, v1=(0,0), v2=(1.54,0)); bgr_diode.add(r)
r = gdstk.Reference(bjt_vss, (10.62,-69.265)); r.repetition = gdstk.Repetition(1, 3, v1=(0,0), v2=(0,22.22)); bgr_diode.add(r)
bgr_diode.add(gdstk.Reference(npn_bjt, (24.3,-12.925), rotation=pi))
bgr_diode.add(gdstk.Reference(npn_bjt, (1.1,-57.365), rotation=3*pi/2))
bgr_diode.add(gdstk.Reference(npn_bjt, (1.1,-35.145), rotation=3*pi/2))
r = gdstk.Reference(tap_psub, (-3.59,-13.395), rotation=3*pi/2); r.repetition = gdstk.Repetition(1, 4, v1=(0,0), v2=(1.54,0)); bgr_diode.add(r)
r = gdstk.Reference(tap_psub, (-43.83,-5.935)); r.repetition = gdstk.Repetition(1, 42, v1=(0,0), v2=(0,1.54)); bgr_diode.add(r)

lib.write_gds('bgr-diode.gds')
